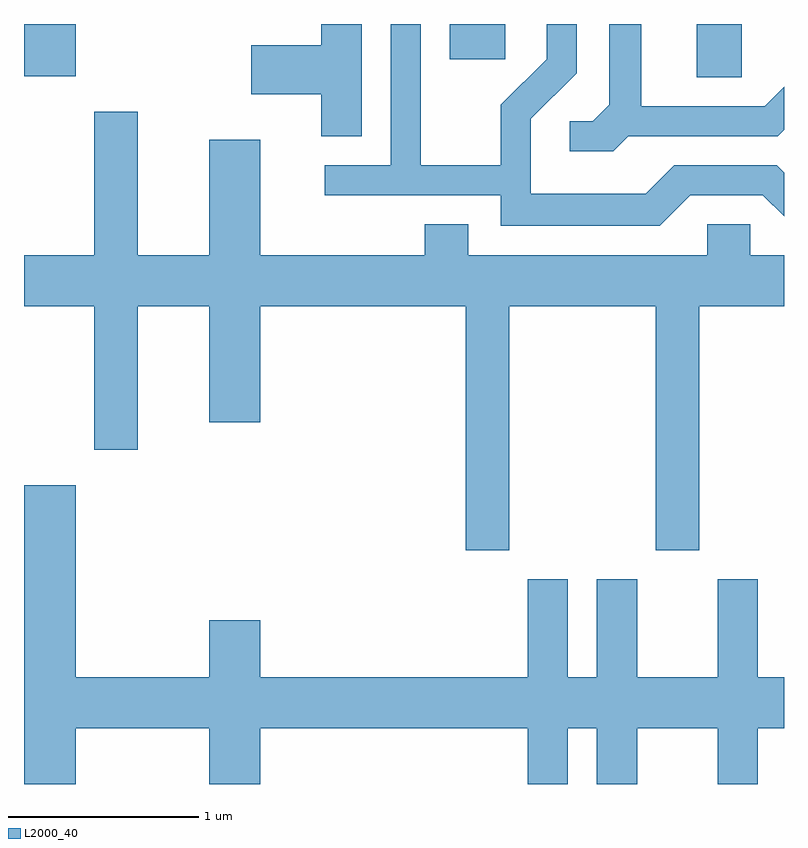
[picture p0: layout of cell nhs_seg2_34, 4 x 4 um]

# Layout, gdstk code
import gdstk
lib = gdstk.Library(unit=1e-6, precision=1e-09)
def R(c, l, rs):  # rectangles x0, y0, x1, y1
    for r in rs: c.add(gdstk.rectangle(r[:2], r[2:], *l))
def P(c, l, *ps):  # polygons
    for p in ps: c.add(gdstk.Polygon(p, *l))
L2000_40 = (2000, 40)

nhs_seg2_34 = lib.new_cell('nhs_seg2_34')
R(nhs_seg2_34, L2000_40, [(189.151,1049.521,189.389,1049.802), (185.611,1049.526,185.884,1049.802), (187.851,1049.616,188.144,1049.802)])
P(nhs_seg2_34, L2000_40, [(189.117,1048.901),(189.499,1048.901),(189.611,1048.789),(189.611,1049.02),(189.572,1049.059),(189.034,1049.059),(188.884,1048.909),(188.279,1048.909),(188.279,1049.304),(188.519,1049.544),(188.519,1049.802),(188.361,1049.802),(188.361,1049.617),(188.121,1049.377),(188.121,1049.059),(187.699,1049.059),(187.699,1049.802),(187.541,1049.802),(187.541,1049.059),(187.193,1049.059),(187.193,1048.901),(188.121,1048.901),(188.121,1048.741),(188.957,1048.741)],
  [(188.792,1049.211),(189.577,1049.211),(189.611,1049.245),(189.611,1049.472),(189.509,1049.369),(188.859,1049.369),(188.859,1049.802),(188.691,1049.802),(188.691,1049.377),(188.604,1049.289),(188.483,1049.289),(188.483,1049.131),(188.712,1049.131)],
  [(187.389,1049.802),(187.176,1049.802),(187.176,1049.689),(186.806,1049.689),(186.806,1049.431),(187.176,1049.431),(187.176,1049.211),(187.389,1049.211)],
  [(188.164,1048.316),(188.936,1048.316),(188.936,1047.031),(189.164,1047.031),(189.164,1048.316),(189.611,1048.316),(189.611,1048.584),(189.434,1048.584),(189.434,1048.749),(189.206,1048.749),(189.206,1048.584),(187.949,1048.584),(187.949,1048.749),(187.721,1048.749),(187.721,1048.584),(186.854,1048.584),(186.854,1049.194),(186.586,1049.194),(186.586,1048.584),(186.209,1048.584),(186.209,1049.339),(185.981,1049.339),(185.981,1048.584),(185.611,1048.584),(185.611,1048.316),(185.981,1048.316),(185.981,1047.561),(186.209,1047.561),(186.209,1048.316),(186.586,1048.316),(186.586,1047.706),(186.854,1047.706),(186.854,1048.316),(187.936,1048.316),(187.936,1047.031),(188.164,1047.031)],
  [(185.884,1046.096),(186.586,1046.096),(186.586,1045.802),(186.854,1045.802),(186.854,1046.096),(188.261,1046.096),(188.261,1045.802),(188.474,1045.802),(188.474,1046.096),(188.626,1046.096),(188.626,1045.802),(188.839,1045.802),(188.839,1046.096),(189.261,1046.096),(189.261,1045.802),(189.474,1045.802),(189.474,1046.096),(189.611,1046.096),(189.611,1046.364),(189.474,1046.364),(189.474,1046.879),(189.261,1046.879),(189.261,1046.364),(188.839,1046.364),(188.839,1046.879),(188.626,1046.879),(188.626,1046.364),(188.474,1046.364),(188.474,1046.879),(188.261,1046.879),(188.261,1046.364),(186.854,1046.364),(186.854,1046.664),(186.586,1046.664),(186.586,1046.364),(185.884,1046.364),(185.884,1047.374),(185.611,1047.374),(185.611,1045.802),(185.884,1045.802)])

lib.write_gds('nhs_seg2_34.gds')
